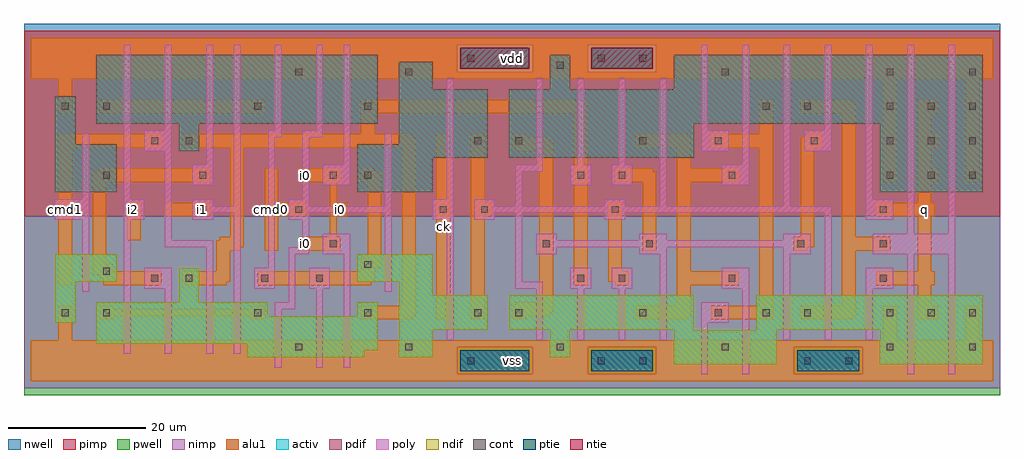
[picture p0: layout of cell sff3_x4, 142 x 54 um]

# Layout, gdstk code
import gdstk
lib = gdstk.Library(unit=1e-6, precision=1e-09)
def R(c, l, rs):  # rectangles x0, y0, x1, y1
    for r in rs: c.add(gdstk.rectangle(r[:2], r[2:], *l))
def A(c, l, x, y, w, h, nx, ny, dx, dy):  # array of equal rectangles
    R(c, l, [(x+i*dx, y+j*dy, x+i*dx+w, y+j*dy+h) for i in range(nx) for j in range(ny)])
ndif = (3, 0)
pdif = (4, 0)
ntie = (5, 0)
ptie = (6, 0)
cont = (25, 0)
pwell = (41, 0)
nwell = (42, 0)
activ = (43, 0)
pimp = (44, 0)
nimp = (45, 0)
poly = (46, 0)
alu1 = (49, 0)

sff3_x4 = lib.new_cell('sff3_x4')
R(sff3_x4, ndif, [(93.5,2.5,108.5,7.5), (123.5,2.5,138.5,7.5), (31.5,3.5,48.5,4.5), (53.5,3.5,58.5,7.5), (75.5,3.5,78.5,7.5), (31.5,4.5,50.5,5.5), (9.5,5.5,50.5,9.5), (53.5,7.5,66.5,12.5), (69.5,7.5,96.5,12.5), (105.5,7.5,138.5,12.5), (3.5,8.5,6.5,14.5), (9.5,9.5,34.5,11.5), (47.5,9.5,50.5,11.5), (21.5,11.5,24.5,16.5), (53.5,12.5,58.5,14.5), (3.5,14.5,12.5,18.5), (47.5,14.5,58.5,18.5)])
R(sff3_x4, pdif, [(3.5,27.5,12.5,34.5), (47.5,27.5,58.5,32.5), (123.5,27.5,138.5,37.5), (47.5,32.5,66.5,34.5), (69.5,32.5,96.5,37.5), (21.5,33.5,24.5,37.5), (3.5,34.5,6.5,41.5), (53.5,34.5,66.5,42.5), (9.5,37.5,50.5,47.5), (69.5,37.5,138.5,42.5), (53.5,42.5,58.5,46.5), (75.5,42.5,78.5,47.5), (93.5,42.5,138.5,47.5)])
R(sff3_x4, ntie, [(62.5,45.5,72.5,48.5), (81.5,45.5,90.5,48.5)])
R(sff3_x4, ptie, [(62.5,1.5,72.5,4.5), (81.5,1.5,90.5,4.5), (111.5,1.5,120.5,4.5)])
A(sff3_x4, cont, 38.5, 4.5, 1, 1, 1, 3, 0, 20)
A(sff3_x4, cont, 76.5, 4.5, 1, 1, 3, 1, 24, 0)
A(sff3_x4, cont, 32.5, 9.5, 1, 1, 3, 1, 16, 0)
A(sff3_x4, cont, 124.5, 9.5, 1, 1, 3, 2, 6, 20)
A(sff3_x4, cont, 123.5, 14.5, 1, 1, 1, 3, 0, 5)
A(sff3_x4, cont, 4.5, 24.5, 1, 1, 3, 1, 10, 0)
A(sff3_x4, cont, 124.5, 34.5, 1, 1, 3, 2, 6, 5)
R(sff3_x4, cont, [(63.5,2.5,64.5,3.5), (70.5,2.5,71.5,3.5), (82.5,2.5,83.5,3.5), (88.5,2.5,89.5,3.5), (112.5,2.5,113.5,3.5), (118.5,2.5,119.5,3.5), (54.5,4.5,55.5,5.5), (136.5,4.5,137.5,5.5), (4.5,9.5,5.5,10.5), (10.5,9.5,11.5,10.5), (70.5,9.5,71.5,10.5), (88.5,9.5,89.5,10.5), (99.5,9.5,100.5,10.5), (106.5,9.5,107.5,10.5), (112.5,9.5,113.5,10.5), (17.5,14.5,18.5,15.5), (22.5,14.5,23.5,15.5), (33.5,14.5,34.5,15.5), (41.5,14.5,42.5,15.5), (79.5,14.5,80.5,15.5), (85.5,14.5,86.5,15.5), (101.5,14.5,102.5,15.5), (10.5,15.5,11.5,16.5), (48.5,16.5,49.5,17.5), (43.5,19.5,44.5,20.5), (74.5,19.5,75.5,20.5), (89.5,19.5,90.5,20.5), (111.5,19.5,112.5,20.5), (59.5,24.5,60.5,25.5), (65.5,24.5,66.5,25.5), (84.5,24.5,85.5,25.5), (10.5,29.5,11.5,30.5), (24.5,29.5,25.5,30.5), (43.5,29.5,44.5,30.5), (48.5,29.5,49.5,30.5), (79.5,29.5,80.5,30.5), (85.5,29.5,86.5,30.5), (101.5,29.5,102.5,30.5), (17.5,34.5,18.5,35.5), (22.5,34.5,23.5,35.5), (64.5,34.5,65.5,35.5), (70.5,34.5,71.5,35.5), (88.5,34.5,89.5,35.5), (99.5,34.5,100.5,35.5), (113.5,34.5,114.5,35.5), (4.5,39.5,5.5,40.5), (10.5,39.5,11.5,40.5), (32.5,39.5,33.5,40.5), (48.5,39.5,49.5,40.5), (106.5,39.5,107.5,40.5), (112.5,39.5,113.5,40.5), (54.5,44.5,55.5,45.5), (100.5,44.5,101.5,45.5), (124.5,44.5,125.5,45.5), (136.5,44.5,137.5,45.5), (76.5,45.5,77.5,46.5), (63.5,46.5,64.5,47.5), (70.5,46.5,71.5,47.5), (82.5,46.5,83.5,47.5), (88.5,46.5,89.5,47.5)])
R(sff3_x4, pwell, [(-1,-2,141,24)])
R(sff3_x4, nwell, [(-1,24,141,52)])
R(sff3_x4, activ, [(62.5,1.5,72.5,4.5), (81.5,1.5,90.5,4.5), (111.5,1.5,120.5,4.5), (93.5,2.5,108.5,7.5), (123.5,2.5,138.5,7.5), (31.5,3.5,48.5,4.5), (53.5,3.5,58.5,7.5), (75.5,3.5,78.5,7.5), (31.5,4.5,50.5,5.5), (9.5,5.5,50.5,9.5), (53.5,7.5,66.5,12.5), (69.5,7.5,96.5,12.5), (105.5,7.5,138.5,12.5), (3.5,8.5,6.5,14.5), (9.5,9.5,34.5,11.5), (47.5,9.5,50.5,11.5), (21.5,11.5,24.5,16.5), (53.5,12.5,58.5,14.5), (3.5,14.5,12.5,18.5), (47.5,14.5,58.5,18.5), (3.5,27.5,12.5,34.5), (47.5,27.5,58.5,32.5), (123.5,27.5,138.5,37.5), (47.5,32.5,66.5,34.5), (69.5,32.5,96.5,37.5), (21.5,33.5,24.5,37.5), (3.5,34.5,6.5,41.5), (53.5,34.5,66.5,42.5), (9.5,37.5,50.5,47.5), (69.5,37.5,138.5,42.5), (53.5,42.5,58.5,46.5), (75.5,42.5,78.5,47.5), (93.5,42.5,138.5,47.5), (62.5,45.5,72.5,48.5), (81.5,45.5,90.5,48.5)])
R(sff3_x4, pimp, [(62,1,73,5), (81,1,91,5), (111,1,121,5), (-1,24,141,45), (-1,45,62,49), (73,45,81,49), (91,45,141,49), (-1,49,141,51)])
R(sff3_x4, nimp, [(-1,-1,141,1), (-1,1,62,5), (73,1,81,5), (91,1,111,5), (121,1,141,5), (-1,5,141,24), (62,45,73,49), (81,45,91,49)])
A(sff3_x4, poly, 73.5, 6, 1, 7.5, 3, 1, 6, 0)
A(sff3_x4, poly, 73.5, 31.5, 1, 12.5, 3, 1, 6, 0)
R(sff3_x4, poly, [(97.5,1,98.5,8.5), (103.5,1,104.5,13.5), (127.5,1,128.5,18.5), (133.5,1,134.5,18.5), (35.5,2,36.5,10.5), (41.5,2,42.5,13.5), (45.5,2,46.5,18.5), (13.5,4,14.5,23.5), (19.5,4,20.5,13.5), (25.5,4,26.5,19.5), (29.5,4,30.5,24.5), (60.5,6,61.5,23.5), (91.5,6,92.5,18.5), (109.5,6,110.5,18.5), (115.5,6,116.5,24.5), (121.5,6,122.5,13.5), (97.5,8.5,101.5,11.5), (35.5,10.5,38.5,11.5), (37.5,11.5,38.5,18.5), (7.5,13,8.5,23.5), (51.5,13,52.5,24.5), (16.5,13.5,20.5,16.5), (32.5,13.5,35.5,16.5), (40.5,13.5,43.5,16.5), (70.5,13.5,74.5,14.5), (78.5,13.5,81.5,16.5), (84.5,13.5,87.5,16.5), (100.5,13.5,104.5,16.5), (121.5,13.5,125.5,16.5), (70.5,14.5,71.5,24.5), (34.5,16.5,35.5,35.5), (37.5,18.5,40.5,19.5), (42.5,18.5,46.5,21.5), (73.5,18.5,76.5,19.5), (88.5,18.5,92.5,19.5), (109.5,18.5,113.5,19.5), (122.5,18.5,134.5,21.5), (19.5,19.5,26.5,20.5), (39.5,19.5,40.5,23.5), (73.5,19.5,113.5,20.5), (19.5,20.5,20.5,33.5), (73.5,20.5,76.5,21.5), (88.5,20.5,92.5,21.5), (109.5,20.5,113.5,21.5), (127.5,21.5,128.5,49), (133.5,21.5,134.5,49), (3.5,23.5,8.5,26.5), (13.5,23.5,16.5,26.5), (23.5,23.5,26.5,24.5), (37.5,23.5,40.5,24.5), (58.5,23.5,61.5,26.5), (64.5,23.5,67.5,24.5), (83.5,23.5,86.5,24.5), (121.5,23.5,125.5,26.5), (23.5,24.5,30.5,25.5), (37.5,24.5,52.5,25.5), (64.5,24.5,116.5,25.5), (23.5,25.5,26.5,26.5), (29.5,25.5,30.5,49), (37.5,25.5,40.5,26.5), (51.5,25.5,52.5,36), (64.5,25.5,67.5,26.5), (70.5,25.5,71.5,30.5), (83.5,25.5,86.5,26.5), (91.5,25.5,92.5,44), (109.5,25.5,110.5,49), (7.5,26.5,8.5,36), (13.5,26.5,14.5,49), (39.5,26.5,40.5,35.5), (60.5,26.5,61.5,44), (121.5,26.5,122.5,49), (23.5,28.5,26.5,31.5), (42.5,28.5,46.5,31.5), (78.5,28.5,81.5,31.5), (84.5,28.5,87.5,31.5), (100.5,28.5,104.5,31.5), (70.5,30.5,74.5,31.5), (25.5,31.5,26.5,49), (45.5,31.5,46.5,49), (103.5,31.5,104.5,49), (16.5,33.5,20.5,36.5), (97.5,33.5,101.5,36.5), (112.5,33.5,116.5,36.5), (34.5,35.5,36.5,36.5), (39.5,35.5,42.5,36.5), (19.5,36.5,20.5,49), (35.5,36.5,36.5,49), (41.5,36.5,42.5,49), (97.5,36.5,98.5,49), (115.5,36.5,116.5,49)])
A(sff3_x4, alu1, 129, 26, 2, 3, 1, 3, 0, 5)
A(sff3_x4, alu1, 129, 29, 3, 2, 1, 3, 0, 5)
R(sff3_x4, alu1, [(0,0,140,6), (4,6,6,11), (124,6,126,11), (136,6,138,11), (10,9,12,9.5), (32,9,34,9.5), (48,9,55.5,9.5), (59,9,61,36), (64,9,66,24), (70,9,72,9.5), (88,9,95.5,9.5), (99,9,108,11), (112,9,119.5,9.5), (129,9,132,11), (10,9.5,34,10.5), (48,9.5,56,11), (70,9.5,75.5,10), (88,9.5,96,11), (112,9.5,120,11), (70,10,76,11), (10,10.5,12,11), (32,10.5,34,11), (54,11,56,34), (70.5,11,76,11.5), (94,11,96,14), (106,11,108,34), (118,11,120,19), (129,11,131,14), (74,11.5,76,33.5), (4,14,6,34), (10.5,14,19,15), (22,14,28.5,14.5), (33,14,49.5,14.5), (79,14,81,39), (85,14,87,14.5), (94,14,103,16), (123,14,131.5,16), (22,14.5,29,16), (33,14.5,50,16), (84,14.5,87,16), (10,15,19,15.5), (9,15.5,19,16), (9,16,12,17), (27,16,29,19), (48,16,50,16.5), (84,16,86,26), (94,16,96,29), (129,16,131,24), (48,16.5,51,18), (9,17,11,29), (49,18,51,29), (27,19,30.5,19.5), (34,19,36,24), (39,19,45,21), (89,19,91,29), (111,19,113,19.5), (118,19,125,21), (27,19.5,31,20.5), (111,19.5,114,21), (14,20.5,16,26), (27.5,20.5,31,21), (29,21,31,34), (43.5,21,44.5,24), (112,21,114,34), (118,21,120,39), (19.5,24,26,26), (34,24,40,26), (43.5,24,46,26), (64,24,67,26), (123,24,131.5,26), (34,26,36,31), (43.5,26,44.5,29), (64,26,66,36), (9,29,26,30.5), (39,29,45,31), (48,29,51,30.5), (85,29,91,30.5), (94,29,103,31), (124,29,126,44), (136,29,138,44), (10,30.5,26,31), (48,30.5,50,31), (85,30.5,90.5,31), (94,31,96,34), (70.5,33.5,76,34), (4,34,19,36), (22,34,56,35.5), (70,34,76,35), (88,34,96,35.5), (99,34,108,36), (112,34,115,35.5), (70,35,75.5,35.5), (22,35.5,55.5,36), (70,35.5,72,36), (88,35.5,95.5,36), (113,35.5,115,36), (48,36,50,39), (106,36,108,41), (4,39,6,44), (10,39,34,41), (48,39,81,40.5), (112,39,120,40.5), (48,40.5,80.5,41), (112,40.5,119.5,41), (0,44,140,50)])
sff3_x4.add(gdstk.Label('i2', (15,25), layer=49, texttype=0))
sff3_x4.add(gdstk.Label('cmd1', (5,25), layer=49, texttype=0))
sff3_x4.add(gdstk.Label('i0', (40,20), layer=49, texttype=0))
sff3_x4.add(gdstk.Label('i1', (25,25), layer=49, texttype=0))
sff3_x4.add(gdstk.Label('cmd0', (35,25), layer=49, texttype=0))
sff3_x4.add(gdstk.Label('i0', (40,30), layer=49, texttype=0))
sff3_x4.add(gdstk.Label('ck', (60,22.5), layer=49, texttype=0))
sff3_x4.add(gdstk.Label('i0', (45,25), layer=49, texttype=0))
sff3_x4.add(gdstk.Label('vss', (70,3), layer=49, texttype=0))
sff3_x4.add(gdstk.Label('vdd', (70,47), layer=49, texttype=0))
sff3_x4.add(gdstk.Label('q', (130,25), layer=49, texttype=0))

lib.write_gds('sff3_x4.gds')
